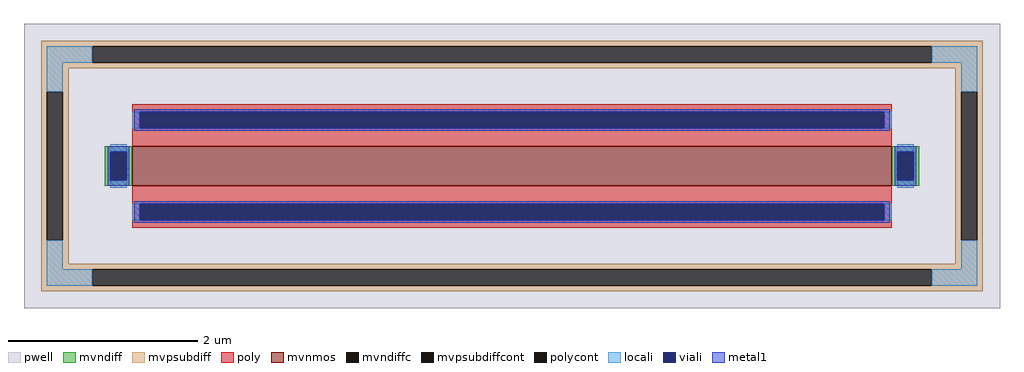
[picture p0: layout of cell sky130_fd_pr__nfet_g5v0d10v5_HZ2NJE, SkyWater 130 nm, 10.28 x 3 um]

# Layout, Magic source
magic
tech sky130A
<< pwell >>
rect -514 -150 514 150
<< mvnmos >>
rect -400 -21 400 21
<< mvndiff >>
rect -429 15 -400 21
rect -429 -15 -423 15
rect -406 -15 -400 15
rect -429 -21 -400 -15
rect 400 15 429 21
rect 400 -15 406 15
rect 423 -15 429 15
rect 400 -21 429 -15
<< mvndiffc >>
rect -423 -15 -406 15
rect 406 -15 423 15
<< mvpsubdiff >>
rect -496 126 496 132
rect -496 109 -442 126
rect 442 109 496 126
rect -496 103 496 109
rect -496 78 -467 103
rect -496 -78 -490 78
rect -473 -78 -467 78
rect 467 78 496 103
rect -496 -103 -467 -78
rect 467 -78 473 78
rect 490 -78 496 78
rect 467 -103 496 -78
rect -496 -109 496 -103
rect -496 -126 -442 -109
rect 442 -126 496 -109
rect -496 -132 496 -126
<< mvpsubdiffcont >>
rect -442 109 442 126
rect -490 -78 -473 78
rect 473 -78 490 78
rect -442 -126 442 -109
<< poly >>
rect -400 57 400 65
rect -400 40 -392 57
rect 392 40 400 57
rect -400 21 400 40
rect -400 -40 400 -21
rect -400 -57 -392 -40
rect 392 -57 400 -40
rect -400 -65 400 -57
<< polycont >>
rect -392 40 392 57
rect -392 -57 392 -40
<< locali >>
rect -490 109 -442 126
rect 442 109 490 126
rect -490 78 -473 109
rect 473 78 490 109
rect -400 40 -392 57
rect 392 40 400 57
rect -423 15 -406 23
rect -423 -23 -406 -15
rect 406 15 423 23
rect 406 -23 423 -15
rect -400 -57 -392 -40
rect 392 -57 400 -40
rect -490 -109 -473 -78
rect 473 -109 490 -78
rect -490 -126 -442 -109
rect 442 -126 490 -109
<< viali >>
rect -392 40 392 57
rect -423 -15 -406 15
rect 406 -15 423 15
rect -392 -57 392 -40
<< metal1 >>
rect -398 57 398 60
rect -398 40 -392 57
rect 392 40 398 57
rect -398 37 398 40
rect -426 15 -403 21
rect -426 -15 -423 15
rect -406 -15 -403 15
rect -426 -21 -403 -15
rect 403 15 426 21
rect 403 -15 406 15
rect 423 -15 426 15
rect 403 -21 426 -15
rect -398 -40 398 -37
rect -398 -57 -392 -40
rect 392 -57 398 -40
rect -398 -60 398 -57
<< properties >>
string FIXED_BBOX -481 -117 481 117
string gencell sky130_fd_pr__nfet_g5v0d10v5
string library sky130
string parameters w 0.42 l 8.0 m 1 nf 1 diffcov 100 polycov 100 guard 1 glc 1 grc 1 gtc 1 gbc 1 tbcov 100 rlcov 100 topc 1 botc 1 poverlap 0 doverlap 1 lmin 0.50 wmin 0.42 compatible {sky130_fd_pr__nfet_01v8 sky130_fd_pr__nfet_01v8_lvt  sky130_fd_bs_flash__special_sonosfet_star  sky130_fd_pr__nfet_g5v0d10v5 sky130_fd_pr__nfet_05v0_nvt  sky130_fd_pr__nfet_03v3_nvt} full_metal 1 viasrc 100 viadrn 100 viagate 100 viagb 0 viagr 0 viagl 0 viagt 0
<< end >>
